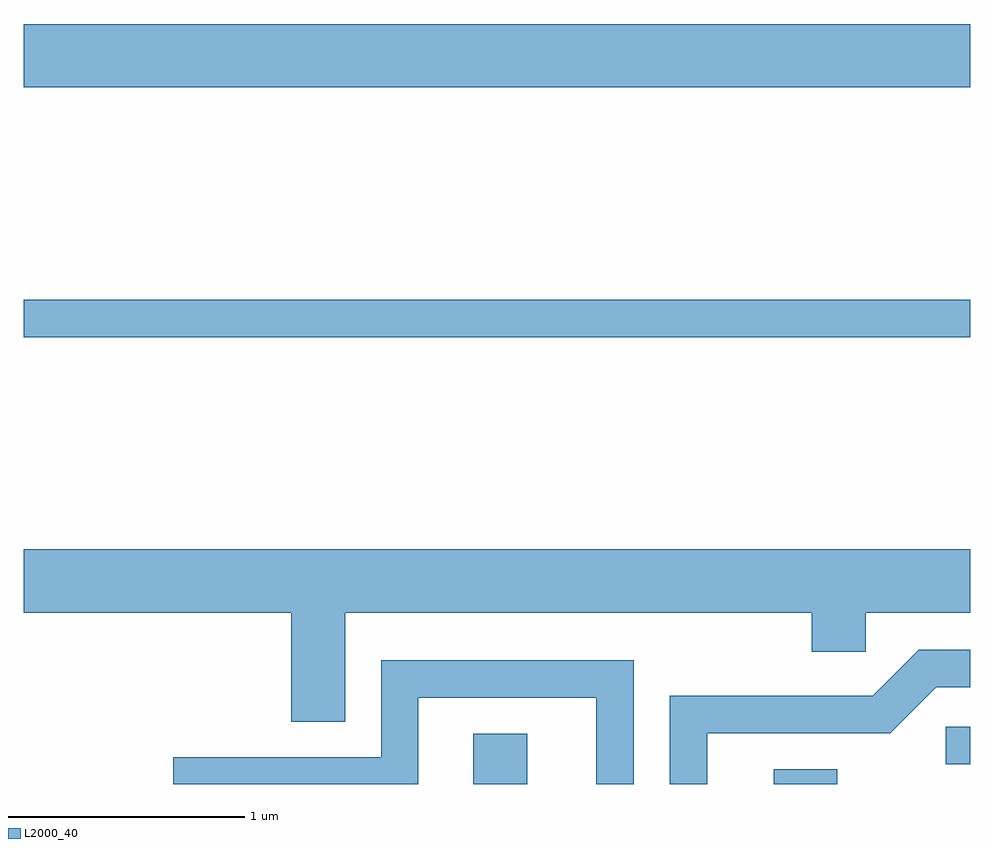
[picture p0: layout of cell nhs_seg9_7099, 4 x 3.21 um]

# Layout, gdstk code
import gdstk
lib = gdstk.Library(unit=1e-6, precision=1e-09)
def R(c, l, rs):  # rectangles x0, y0, x1, y1
    for r in rs: c.add(gdstk.rectangle(r[:2], r[2:], *l))
def P(c, l, *ps):  # polygons
    for p in ps: c.add(gdstk.Polygon(p, *l))
L2000_40 = (2000, 40)

nhs_seg9_7099 = lib.new_cell('nhs_seg9_7099')
R(nhs_seg9_7099, L2000_40, [(397.511,1984.432,397.739,1984.644), (398.781,1984.432,399.049,1984.494), (399.508,1984.516,399.611,1984.674), (395.611,1986.321,399.611,1986.479), (395.611,1987.376,399.611,1987.644)])
P(nhs_seg9_7099, L2000_40, [(396.969,1985.156),(398.941,1985.156),(398.941,1984.991),(399.169,1984.991),(399.169,1985.156),(399.611,1985.156),(399.611,1985.424),(395.611,1985.424),(395.611,1985.156),(396.741,1985.156),(396.741,1984.696),(396.969,1984.696)],
  [(398.499,1984.646),(399.272,1984.646),(399.467,1984.841),(399.611,1984.841),(399.611,1984.999),(399.394,1984.999),(399.199,1984.804),(398.341,1984.804),(398.341,1984.432),(398.499,1984.432)],
  [(397.279,1984.796),(398.031,1984.796),(398.031,1984.432),(398.189,1984.432),(398.189,1984.954),(397.121,1984.954),(397.121,1984.544),(396.243,1984.544),(396.243,1984.432),(397.279,1984.432)])

lib.write_gds('nhs_seg9_7099.gds')
